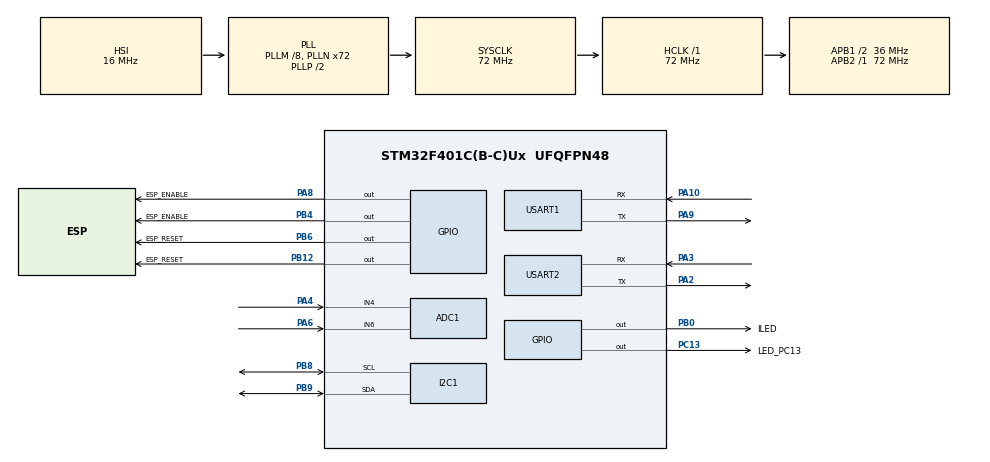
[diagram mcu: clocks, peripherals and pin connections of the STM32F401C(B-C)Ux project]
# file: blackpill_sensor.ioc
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ADC1.Channel-0\#ChannelRegularConversion=ADC_CHANNEL_4
ADC1.ContinuousConvMode=DISABLE
ADC1.DiscontinuousConvMode=DISABLE
ADC1.NbrOfConversion=1
ADC1.NbrOfConversionFlag=1
ADC1.Rank-0\#ChannelRegularConversion=1
ADC1.SamplingTime-0\#ChannelRegularConversion=ADC_SAMPLETIME_15CYCLES
ADC1.ScanConvMode=ENABLE
ADC1.master=1
Dma.Request0=USART2_TX
Dma.Request1=USART1_RX
Dma.Request2=USART1_TX
Dma.USART1_RX.1.Direction=DMA_PERIPH_TO_MEMORY
Dma.USART1_RX.1.FIFOMode=DMA_FIFOMODE_DISABLE
Dma.USART1_RX.1.Instance=DMA2_Stream2
Dma.USART1_RX.1.MemDataAlignment=DMA_MDATAALIGN_BYTE
Dma.USART1_RX.1.MemInc=DMA_MINC_ENABLE
Dma.USART1_RX.1.Mode=DMA_CIRCULAR
Dma.USART1_RX.1.PeriphDataAlignment=DMA_PDATAALIGN_BYTE
Dma.USART1_RX.1.PeriphInc=DMA_PINC_DISABLE
Dma.USART1_RX.1.Priority=DMA_PRIORITY_HIGH
Dma.USART1_TX.2.Direction=DMA_MEMORY_TO_PERIPH
Dma.USART1_TX.2.FIFOMode=DMA_FIFOMODE_DISABLE
Dma.USART1_TX.2.Instance=DMA2_Stream7
Dma.USART1_TX.2.MemDataAlignment=DMA_MDATAALIGN_BYTE
Dma.USART1_TX.2.MemInc=DMA_MINC_ENABLE
Dma.USART1_TX.2.Mode=DMA_NORMAL
Dma.USART1_TX.2.PeriphDataAlignment=DMA_PDATAALIGN_BYTE
Dma.USART1_TX.2.PeriphInc=DMA_PINC_DISABLE
Dma.USART1_TX.2.Priority=DMA_PRIORITY_LOW
Dma.USART2_TX.0.Direction=DMA_MEMORY_TO_PERIPH
Dma.USART2_TX.0.FIFOMode=DMA_FIFOMODE_DISABLE
Dma.USART2_TX.0.Instance=DMA1_Stream6
Dma.USART2_TX.0.MemDataAlignment=DMA_MDATAALIGN_BYTE
Dma.USART2_TX.0.MemInc=DMA_MINC_ENABLE
Dma.USART2_TX.0.Mode=DMA_NORMAL
Dma.USART2_TX.0.PeriphDataAlignment=DMA_PDATAALIGN_BYTE
Dma.USART2_TX.0.PeriphInc=DMA_PINC_DISABLE
Dma.USART2_TX.0.Priority=DMA_PRIORITY_LOW
Mcu.Family=STM32F4
Mcu.Name=STM32F401C(B-C)Ux
Mcu.Package=UFQFPN48
NVIC.DMA1_Stream6_IRQn=true\:0\:0\:false\:false\:true\:false\:true\:true
NVIC.DMA2_Stream2_IRQn=true\:0\:0\:false\:false\:true\:false\:true\:true
NVIC.DMA2_Stream7_IRQn=true\:0\:0\:false\:false\:true\:false\:true\:true
NVIC.I2C1_ER_IRQn=true\:0\:0\:false\:false\:true\:true\:true\:true
NVIC.PriorityGroup=NVIC_PRIORITYGROUP_4
NVIC.USART1_IRQn=true\:0\:0\:false\:false\:true\:true\:true\:true
NVIC.USART2_IRQn=true\:0\:0\:false\:false\:true\:true\:true\:true
PA10.Mode=Asynchronous
PA10.Signal=USART1_RX
PA2.Mode=Asynchronous
PA2.Signal=USART2_TX
PA3.Mode=Asynchronous
PA3.Signal=USART2_RX
PA4.Signal=ADCx_IN4
PA6.Signal=ADCx_IN6
PA8.GPIO_Label=ESP_ENABLE
PA8.Signal=GPIO_Output
PA9.Mode=Asynchronous
PA9.Signal=USART1_TX
PB0.GPIO_Label=ILED
PB0.PinState=GPIO_PIN_RESET
PB0.Signal=GPIO_Output
PB12.GPIO_Label=ESP_RESET
PB12.Signal=GPIO_Output
PB4.GPIO_Label=ESP_ENABLE
PB4.GPIO_PuPd=GPIO_PULLDOWN
PB4.Signal=GPIO_Output
PB6.GPIO_Label=ESP_RESET
PB6.Signal=GPIO_Output
PB8.Mode=I2C
PB8.Signal=I2C1_SCL
PB9.Mode=I2C
PB9.Signal=I2C1_SDA
PC13-ANTI_TAMP.GPIO_Label=LED_PC13
PC13-ANTI_TAMP.Signal=GPIO_Output
PC14-OSC32_IN.Mode=LSE-External-Oscillator
PC14-OSC32_IN.Signal=RCC_OSC32_IN
PC15-OSC32_OUT.Mode=LSE-External-Oscillator
PC15-OSC32_OUT.Signal=RCC_OSC32_OUT
ProjectManager.HeapSize=0x200
ProjectManager.StackSize=0x400
ProjectManager.TargetToolchain=STM32CubeIDE
RCC.48MHZClocksFreq_Value=36000000
RCC.AHBFreq_Value=72000000
RCC.APB1CLKDivider=RCC_HCLK_DIV2
RCC.APB1Freq_Value=36000000
RCC.APB1TimFreq_Value=72000000
RCC.APB2Freq_Value=72000000
RCC.APB2TimFreq_Value=72000000
RCC.CortexFreq_Value=72000000
RCC.HCLKFreq_Value=72000000
RCC.HSE_VALUE=25000000
RCC.HSI_VALUE=16000000
RCC.PLLM=8
RCC.PLLN=72
RCC.RCC_RTC_Clock_Source=RCC_RTCCLKSOURCE_LSE
RCC.RCC_RTC_Clock_SourceVirtual=RCC_RTCCLKSOURCE_LSE
RCC.SYSCLKFreq_VALUE=72000000
RCC.SYSCLKSource=RCC_SYSCLKSOURCE_PLLCLK
RCC.VCOOutputFreq_Value=144000000
RTC.Alarm=RTC_ALARM_A
SH.ADCx_IN4.0=ADC1_IN4,IN4
SH.ADCx_IN6.0=ADC1_IN6,IN6
TIM2.Prescaler=71
TIM4.Prescaler=35000
USART1.VirtualMode=VM_ASYNC
USART2.VirtualMode=VM_ASYNC
VP_RTC_VS_RTC_Activate.Mode=RTC_Enabled
VP_RTC_VS_RTC_Alarm_A_Intern.Mode=Alarm A
VP_RTC_VS_RTC_Calendar.Mode=RTC_Calendar
VP_TIM2_VS_ClockSourceINT.Mode=Internal
VP_TIM4_VS_ClockSourceINT.Mode=Internal
board=custom

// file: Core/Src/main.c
/* USER CODE BEGIN Header */
/**
  ******************************************************************************
  * @file           : main.c
  * @brief          : Main program body
  ******************************************************************************
  * @attention
  *
  * Copyright (c) 2023 STMicroelectronics.
  * All rights reserved.
  *
  * This software is licensed under terms that can be found in the LICENSE file
  * in the root directory of this software component.
  * If no LICENSE file comes with this software, it is provided AS-IS.
  *
  ******************************************************************************
  */
/* USER CODE END Header */
#include "main.h"

/* USER CODE BEGIN Includes */
#include "string.h"
#include "stdio.h"
#include "fr_adc.h"
#include "fr_BME280.h"
#include "fr_ESP8266.h"
#include "fr_ESP8266_messages.h"
#include "fr_global.h"
/* USER CODE END Includes */

ADC_HandleTypeDef hadc1;

I2C_HandleTypeDef hi2c1;

RTC_HandleTypeDef hrtc;

TIM_HandleTypeDef htim2;
TIM_HandleTypeDef htim4;

UART_HandleTypeDef huart1;
UART_HandleTypeDef huart2;
DMA_HandleTypeDef hdma_usart1_rx;
DMA_HandleTypeDef hdma_usart1_tx;
DMA_HandleTypeDef hdma_usart2_tx;

void SystemClock_Config(void);
static void MX_GPIO_Init(void);
static void MX_DMA_Init(void);
static void MX_USART1_UART_Init(void);
static void MX_USART2_UART_Init(void);
static void MX_TIM2_Init(void);
static void MX_TIM4_Init(void);
static void MX_RTC_Init(void);
static void MX_I2C1_Init(void);
static void MX_ADC1_Init(void);

int main(void)
{

  /* MCU Configuration--------------------------------------------------------*/

  /* Reset of all peripherals, Initializes the Flash interface and the Systick. */
  HAL_Init();

  /* Configure the system clock */
  SystemClock_Config();

  /* Initialize all configured peripherals */
  MX_GPIO_Init();
  MX_DMA_Init();
  MX_USART1_UART_Init();
  MX_USART2_UART_Init();
  MX_TIM2_Init();
  MX_TIM4_Init();
  MX_RTC_Init();
  MX_I2C1_Init();
  MX_ADC1_Init();

  /* Infinite loop */
  /* USER CODE BEGIN WHILE */

  //turn on work indicator LED
  HAL_GPIO_WritePin(LED_PC13_GPIO_Port, LED_PC13_Pin, GPIO_PIN_RESET);

  //battery level measurement
  measure_battery();
  //configure BME280 sensor

  if(BME280_Config(OSRS_2, OSRS_16, OSRS_1, IIR_OFF)==-1){
	  HAL_UART_Transmit(&huart2, "Error in configuration of BME280\r\n", strlen("Error in configuration of BME280\r\n"), 200);
  }
  BME280_WakeUP();
  //reset ESP8266
  ESP_Server_Init();

  //initialize USART DMA in receive until IDLE mode
  HAL_UARTEx_ReceiveToIdle_DMA(&huart1, RxBuf, RxBuf_SIZE);
  __HAL_DMA_DISABLE_IT(&hdma_usart1_rx, DMA_IT_HT);

  load_hotspot();

  //initialize timers
  //timer for us delay
  HAL_TIM_Base_Start(&htim2);

  //timer for ESP8266 communication timing
  HAL_TIM_Base_Start(&htim4);

  //enable debugging in standby mode
  HAL_DBGMCU_EnableDBGStandbyMode();

  while (1)
  {
	//ESP8266 communication handle
	if(PomiarFlag){
		switch(tryb_wifi){
		case HOTSPOT:
			load_hotspot();
		break;
		case ROUTER_MODE:
			load_msg();
		break;
		case RESET_TO_WIFI_CHANGE:
			wifi_reset();
		break;
		case WIFI_CHANGE:
			change_wifi();
		break;
		case RESET_MODE_TO_HOTSPOT:
			wifi_reset();
		break;
		case RESET_MODE_TO_ROUTER:
			wifi_reset();
		break;
		}
		send_msg();
	}
	else{
		sleep();
	}

	//check if circural buffor is not full and transfer data from to USART2
	if((USART2->SR & USART_SR_TC) && (ogon!=glowa)&&(ogon<1000)){
		transfer_bufor();
	}
    /* USER CODE END WHILE */

  }
}

void SystemClock_Config(void)
{
  RCC_OscInitTypeDef RCC_OscInitStruct = {0};
  RCC_ClkInitTypeDef RCC_ClkInitStruct = {0};

  /** Configure the main internal regulator output voltage
  */
  __HAL_RCC_PWR_CLK_ENABLE();
  __HAL_PWR_VOLTAGESCALING_CONFIG(PWR_REGULATOR_VOLTAGE_SCALE2);

  /** Initializes the RCC Oscillators according to the specified parameters
  * in the RCC_OscInitTypeDef structure.
  */
  RCC_OscInitStruct.OscillatorType = RCC_OSCILLATORTYPE_HSI|RCC_OSCILLATORTYPE_LSE;
  RCC_OscInitStruct.LSEState = RCC_LSE_ON;
  RCC_OscInitStruct.HSIState = RCC_HSI_ON;
  RCC_OscInitStruct.HSICalibrationValue = RCC_HSICALIBRATION_DEFAULT;
  RCC_OscInitStruct.PLL.PLLState = RCC_PLL_ON;
  RCC_OscInitStruct.PLL.PLLSource = RCC_PLLSOURCE_HSI;
  RCC_OscInitStruct.PLL.PLLM = 8;
  RCC_OscInitStruct.PLL.PLLN = 72;
  RCC_OscInitStruct.PLL.PLLP = RCC_PLLP_DIV2;
  RCC_OscInitStruct.PLL.PLLQ = 4;
  if (HAL_RCC_OscConfig(&RCC_OscInitStruct) != HAL_OK)
  {
    Error_Handler();
  }

  /** Initializes the CPU, AHB and APB buses clocks
  */
  RCC_ClkInitStruct.ClockType = RCC_CLOCKTYPE_HCLK|RCC_CLOCKTYPE_SYSCLK
                              |RCC_CLOCKTYPE_PCLK1|RCC_CLOCKTYPE_PCLK2;
  RCC_ClkInitStruct.SYSCLKSource = RCC_SYSCLKSOURCE_PLLCLK;
  RCC_ClkInitStruct.AHBCLKDivider = RCC_SYSCLK_DIV1;
  RCC_ClkInitStruct.APB1CLKDivider = RCC_HCLK_DIV2;
  RCC_ClkInitStruct.APB2CLKDivider = RCC_HCLK_DIV1;

  if (HAL_RCC_ClockConfig(&RCC_ClkInitStruct, FLASH_LATENCY_2) != HAL_OK)
  {
    Error_Handler();
  }
}

static void MX_ADC1_Init(void)
{

  ADC_ChannelConfTypeDef sConfig = {0};

  /** Configure the global features of the ADC (Clock, Resolution, Data Alignment and number of conversion)
  */
  hadc1.Instance = ADC1;
  hadc1.Init.ClockPrescaler = ADC_CLOCK_SYNC_PCLK_DIV2;
  hadc1.Init.Resolution = ADC_RESOLUTION_12B;
  hadc1.Init.ScanConvMode = ENABLE;
  hadc1.Init.ContinuousConvMode = DISABLE;
  hadc1.Init.DiscontinuousConvMode = DISABLE;
  hadc1.Init.ExternalTrigConvEdge = ADC_EXTERNALTRIGCONVEDGE_NONE;
  hadc1.Init.ExternalTrigConv = ADC_SOFTWARE_START;
  hadc1.Init.DataAlign = ADC_DATAALIGN_RIGHT;
  hadc1.Init.NbrOfConversion = 1;
  hadc1.Init.DMAContinuousRequests = DISABLE;
  hadc1.Init.EOCSelection = ADC_EOC_SINGLE_CONV;
  if (HAL_ADC_Init(&hadc1) != HAL_OK)
  {
    Error_Handler();
  }

  /** Configure for the selected ADC regular channel its corresponding rank in the sequencer and its sample time.
  */
  sConfig.Channel = ADC_CHANNEL_4;
  sConfig.Rank = 1;
  sConfig.SamplingTime = ADC_SAMPLETIME_15CYCLES;
  if (HAL_ADC_ConfigChannel(&hadc1, &sConfig) != HAL_OK)
  {
    Error_Handler();
  }

}

static void MX_I2C1_Init(void)
{

  hi2c1.Instance = I2C1;
  hi2c1.Init.ClockSpeed = 100000;
  hi2c1.Init.DutyCycle = I2C_DUTYCYCLE_2;
  hi2c1.Init.OwnAddress1 = 0;
  hi2c1.Init.AddressingMode = I2C_ADDRESSINGMODE_7BIT;
  hi2c1.Init.DualAddressMode = I2C_DUALADDRESS_DISABLE;
  hi2c1.Init.OwnAddress2 = 0;
  hi2c1.Init.GeneralCallMode = I2C_GENERALCALL_DISABLE;
  hi2c1.Init.NoStretchMode = I2C_NOSTRETCH_DISABLE;
  if (HAL_I2C_Init(&hi2c1) != HAL_OK)
  {
    Error_Handler();
  }

}

static void MX_RTC_Init(void)
{

  RTC_TimeTypeDef sTime = {0};
  RTC_DateTypeDef sDate = {0};
  RTC_AlarmTypeDef sAlarm = {0};

  /** Initialize RTC Only
  */
  hrtc.Instance = RTC;
  hrtc.Init.HourFormat = RTC_HOURFORMAT_24;
  hrtc.Init.AsynchPrediv = 127;
  hrtc.Init.SynchPrediv = 255;
  hrtc.Init.OutPut = RTC_OUTPUT_DISABLE;
  hrtc.Init.OutPutPolarity = RTC_OUTPUT_POLARITY_HIGH;
  hrtc.Init.OutPutType = RTC_OUTPUT_TYPE_OPENDRAIN;
  if (HAL_RTC_Init(&hrtc) != HAL_OK)
  {
    Error_Handler();
  }

  /* USER CODE BEGIN Check_RTC_BKUP */
  if(__HAL_PWR_GET_FLAG(PWR_FLAG_SB) != RESET){
   	    if(__HAL_RTC_ALARM_GET_FLAG(&hrtc, RTC_FLAG_ALRAF)){
   			  HAL_UART_Transmit(&huart2, "ALRAF=1\r\n", strlen("ALRAF=1\r\n"), 500);
   	    }
   	    else{
   			  HAL_UART_Transmit(&huart2, "ALRAF=0\r\n", strlen("ALRAF=0\r\n"), 500);
   	    }
   		__HAL_PWR_CLEAR_FLAG(PWR_FLAG_SB);
    	tryb_wifi= HAL_RTCEx_BKUPRead(&hrtc, RTC_BKP_DR18);
		read_ssid();
  }
  /* USER CODE END Check_RTC_BKUP */

  /** Initialize RTC and set the Time and Date
  */
  sTime.Hours = 0x0;
  sTime.Minutes = 0x0;
  sTime.Seconds = 0x0;
  sTime.DayLightSaving = RTC_DAYLIGHTSAVING_NONE;
  sTime.StoreOperation = RTC_STOREOPERATION_RESET;
  if (HAL_RTC_SetTime(&hrtc, &sTime, RTC_FORMAT_BCD) != HAL_OK)
  {
    Error_Handler();
  }
  sDate.WeekDay = RTC_WEEKDAY_MONDAY;
  sDate.Month = RTC_MONTH_JANUARY;
  sDate.Date = 0x1;
  sDate.Year = 0x0;

  if (HAL_RTC_SetDate(&hrtc, &sDate, RTC_FORMAT_BCD) != HAL_OK)
  {
    Error_Handler();
  }

  /** Enable the Alarm A
  */
  sAlarm.AlarmTime.Hours = 0x0;
  sAlarm.AlarmTime.Minutes = 0x0;
  sAlarm.AlarmTime.Seconds = 0x0;
  sAlarm.AlarmTime.SubSeconds = 0x0;
  sAlarm.AlarmTime.DayLightSaving = RTC_DAYLIGHTSAVING_NONE;
  sAlarm.AlarmTime.StoreOperation = RTC_STOREOPERATION_RESET;
  sAlarm.AlarmMask = RTC_ALARMMASK_NONE;
  sAlarm.AlarmSubSecondMask = RTC_ALARMSUBSECONDMASK_ALL;
  sAlarm.AlarmDateWeekDaySel = RTC_ALARMDATEWEEKDAYSEL_DATE;
  sAlarm.AlarmDateWeekDay = 0x1;
  sAlarm.Alarm = RTC_ALARM_A;
  if (HAL_RTC_SetAlarm(&hrtc, &sAlarm, RTC_FORMAT_BCD) != HAL_OK)
  {
    Error_Handler();
  }

}

static void MX_TIM2_Init(void)
{

  TIM_ClockConfigTypeDef sClockSourceConfig = {0};
  TIM_MasterConfigTypeDef sMasterConfig = {0};

  htim2.Instance = TIM2;
  htim2.Init.Prescaler = 71;
  htim2.Init.CounterMode = TIM_COUNTERMODE_UP;
  htim2.Init.Period = 4294967295;
  htim2.Init.ClockDivision = TIM_CLOCKDIVISION_DIV1;
  htim2.Init.AutoReloadPreload = TIM_AUTORELOAD_PRELOAD_DISABLE;
  if (HAL_TIM_Base_Init(&htim2) != HAL_OK)
  {
    Error_Handler();
  }
  sClockSourceConfig.ClockSource = TIM_CLOCKSOURCE_INTERNAL;
  if (HAL_TIM_ConfigClockSource(&htim2, &sClockSourceConfig) != HAL_OK)
  {
    Error_Handler();
  }
  sMasterConfig.MasterOutputTrigger = TIM_TRGO_RESET;
  sMasterConfig.MasterSlaveMode = TIM_MASTERSLAVEMODE_DISABLE;
  if (HAL_TIMEx_MasterConfigSynchronization(&htim2, &sMasterConfig) != HAL_OK)
  {
    Error_Handler();
  }

}

static void MX_TIM4_Init(void)
{

  TIM_ClockConfigTypeDef sClockSourceConfig = {0};
  TIM_MasterConfigTypeDef sMasterConfig = {0};

  htim4.Instance = TIM4;
  htim4.Init.Prescaler = 35000;
  htim4.Init.CounterMode = TIM_COUNTERMODE_UP;
  htim4.Init.Period = 65535;
  htim4.Init.ClockDivision = TIM_CLOCKDIVISION_DIV1;
  htim4.Init.AutoReloadPreload = TIM_AUTORELOAD_PRELOAD_DISABLE;
  if (HAL_TIM_Base_Init(&htim4) != HAL_OK)
  {
    Error_Handler();
  }
  sClockSourceConfig.ClockSource = TIM_CLOCKSOURCE_INTERNAL;
  if (HAL_TIM_ConfigClockSource(&htim4, &sClockSourceConfig) != HAL_OK)
  {
    Error_Handler();
  }
  sMasterConfig.MasterOutputTrigger = TIM_TRGO_RESET;
  sMasterConfig.MasterSlaveMode = TIM_MASTERSLAVEMODE_DISABLE;
  if (HAL_TIMEx_MasterConfigSynchronization(&htim4, &sMasterConfig) != HAL_OK)
  {
    Error_Handler();
  }

}

static void MX_USART1_UART_Init(void)
{

  huart1.Instance = USART1;
  huart1.Init.BaudRate = 115200;
  huart1.Init.WordLength = UART_WORDLENGTH_8B;
  huart1.Init.StopBits = UART_STOPBITS_1;
  huart1.Init.Parity = UART_PARITY_NONE;
  huart1.Init.Mode = UART_MODE_TX_RX;
  huart1.Init.HwFlowCtl = UART_HWCONTROL_NONE;
  huart1.Init.OverSampling = UART_OVERSAMPLING_16;
  if (HAL_UART_Init(&huart1) != HAL_OK)
  {
    Error_Handler();
  }

}

static void MX_USART2_UART_Init(void)
{

  huart2.Instance = USART2;
  huart2.Init.BaudRate = 115200;
  huart2.Init.WordLength = UART_WORDLENGTH_8B;
  huart2.Init.StopBits = UART_STOPBITS_1;
  huart2.Init.Parity = UART_PARITY_NONE;
  huart2.Init.Mode = UART_MODE_TX_RX;
  huart2.Init.HwFlowCtl = UART_HWCONTROL_NONE;
  huart2.Init.OverSampling = UART_OVERSAMPLING_16;
  if (HAL_UART_Init(&huart2) != HAL_OK)
  {
    Error_Handler();
  }

}

static void MX_DMA_Init(void)
{

  /* DMA controller clock enable */
  __HAL_RCC_DMA1_CLK_ENABLE();
  __HAL_RCC_DMA2_CLK_ENABLE();

  /* DMA interrupt init */
  /* DMA1_Stream6_IRQn interrupt configuration */
  HAL_NVIC_SetPriority(DMA1_Stream6_IRQn, 0, 0);
  HAL_NVIC_EnableIRQ(DMA1_Stream6_IRQn);
  /* DMA2_Stream2_IRQn interrupt configuration */
  HAL_NVIC_SetPriority(DMA2_Stream2_IRQn, 0, 0);
  HAL_NVIC_EnableIRQ(DMA2_Stream2_IRQn);
  /* DMA2_Stream7_IRQn interrupt configuration */
  HAL_NVIC_SetPriority(DMA2_Stream7_IRQn, 0, 0);
  HAL_NVIC_EnableIRQ(DMA2_Stream7_IRQn);

}

static void MX_GPIO_Init(void)
{
  GPIO_InitTypeDef GPIO_InitStruct = {0};

  /* GPIO Ports Clock Enable */
  __HAL_RCC_GPIOC_CLK_ENABLE();
  __HAL_RCC_GPIOA_CLK_ENABLE();
  __HAL_RCC_GPIOB_CLK_ENABLE();

  /*Configure GPIO pin Output Level */
  HAL_GPIO_WritePin(LED_PC13_GPIO_Port, LED_PC13_Pin, GPIO_PIN_RESET);

  /*Configure GPIO pin Output Level */
  HAL_GPIO_WritePin(GPIOB, ILED_Pin|ESP_RESET_Pin|ESP_ENABLEB4_Pin|ESP_RESETB6_Pin, GPIO_PIN_RESET);

  /*Configure GPIO pin Output Level */
  HAL_GPIO_WritePin(ESP_ENABLE_GPIO_Port, ESP_ENABLE_Pin, GPIO_PIN_RESET);

  /*Configure GPIO pin : LED_PC13_Pin */
  GPIO_InitStruct.Pin = LED_PC13_Pin;
  GPIO_InitStruct.Mode = GPIO_MODE_OUTPUT_PP;
  GPIO_InitStruct.Pull = GPIO_NOPULL;
  GPIO_InitStruct.Speed = GPIO_SPEED_FREQ_LOW;
  HAL_GPIO_Init(LED_PC13_GPIO_Port, &GPIO_InitStruct);

  /*Configure GPIO pins : ILED_Pin ESP_RESET_Pin ESP_RESETB6_Pin */
  GPIO_InitStruct.Pin = ILED_Pin|ESP_RESET_Pin|ESP_RESETB6_Pin;
  GPIO_InitStruct.Mode = GPIO_MODE_OUTPUT_PP;
  GPIO_InitStruct.Pull = GPIO_NOPULL;
  GPIO_InitStruct.Speed = GPIO_SPEED_FREQ_LOW;
  HAL_GPIO_Init(GPIOB, &GPIO_InitStruct);

  /*Configure GPIO pin : ESP_ENABLE_Pin */
  GPIO_InitStruct.Pin = ESP_ENABLE_Pin;
  GPIO_InitStruct.Mode = GPIO_MODE_OUTPUT_PP;
  GPIO_InitStruct.Pull = GPIO_NOPULL;
  GPIO_InitStruct.Speed = GPIO_SPEED_FREQ_LOW;
  HAL_GPIO_Init(ESP_ENABLE_GPIO_Port, &GPIO_InitStruct);

  /*Configure GPIO pin : ESP_ENABLEB4_Pin */
  GPIO_InitStruct.Pin = ESP_ENABLEB4_Pin;
  GPIO_InitStruct.Mode = GPIO_MODE_OUTPUT_PP;
  GPIO_InitStruct.Pull = GPIO_PULLDOWN;
  GPIO_InitStruct.Speed = GPIO_SPEED_FREQ_LOW;
  HAL_GPIO_Init(ESP_ENABLEB4_GPIO_Port, &GPIO_InitStruct);

}

/* USER CODE BEGIN 4 */
void HAL_UART_TxCpltCallback(UART_HandleTypeDef *huart){
	if (huart->Instance == USART2){
		if(ogon==1000){
			ogon=0;
		}
	}
}

void HAL_UART_ErrorCallback(UART_HandleTypeDef *huart){
	if (huart->Instance == USART2)
		{
		__NOP();
		}
	if (huart->Instance == USART1)
		{
		__NOP();
		HAL_UART_DMAStop(&huart1);
		__HAL_DMA_DISABLE_IT(&hdma_usart1_rx, DMA_IT_HT);
		HAL_UARTEx_ReceiveToIdle_DMA(&huart1, RxBuf, RxBuf_SIZE);
		}
}

void HAL_UARTEx_RxEventCallback(UART_HandleTypeDef *huart, uint16_t Size)
{
	if (huart->Instance == USART1)
		{
		uint16_t remain = huart1.RxXferCount;
			int i;
			int temp;
			for(i=Size;i>0;i--){
					temp=RxMainBuf_SIZE-remain-i;
					MainBuf[temp]=RxBuf[temp];
				}
			glowa=RxMainBuf_SIZE-remain-i;
		}

}
void HAL_I2C_ErrorCallback(I2C_HandleTypeDef *hi2c){
	__NOP();
}

/* USER CODE END 4 */

void Error_Handler(void)
{
  __disable_irq();
  while (1)
  {
  }
}
